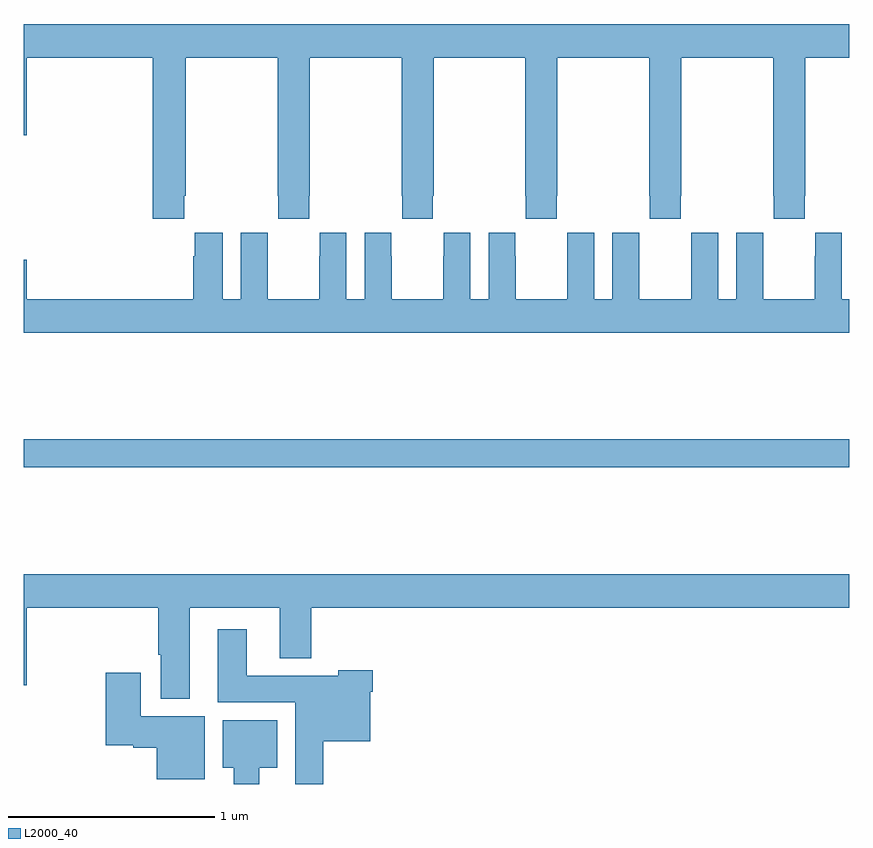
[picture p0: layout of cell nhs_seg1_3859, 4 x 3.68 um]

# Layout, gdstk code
import gdstk
lib = gdstk.Library(unit=1e-6, precision=1e-09)
def R(c, l, rs):  # rectangles x0, y0, x1, y1
    for r in rs: c.add(gdstk.rectangle(r[:2], r[2:], *l))
def P(c, l, *ps):  # polygons
    for p in ps: c.add(gdstk.Polygon(p, *l))
L2000_40 = (2000, 40)

nhs_seg1_3859 = lib.new_cell('nhs_seg1_3859')
R(nhs_seg1_3859, L2000_40, [(321,565.732,325,565.868)])
P(nhs_seg1_3859, L2000_40, [(321,567.342),(321.016,567.342),(321.016,567.716),(321.626,567.716),(321.626,566.937),(321.779,566.937),(321.779,567.049),(321.786,567.049),(321.786,567.716),(322.231,567.716),(322.231,567.049),(322.233,567.049),(322.233,566.937),(322.383,566.937),(322.383,567.049),(322.386,567.049),(322.386,567.716),(322.831,567.716),(322.831,567.049),(322.833,567.049),(322.833,566.937),(322.983,566.937),(322.983,567.049),(322.986,567.049),(322.986,567.716),(323.431,567.716),(323.431,567.049),(323.433,567.049),(323.433,566.937),(323.583,566.937),(323.583,567.049),(323.586,567.049),(323.586,567.716),(324.031,567.716),(324.031,567.049),(324.033,567.049),(324.033,566.937),(324.183,566.937),(324.183,567.049),(324.186,567.049),(324.186,567.716),(324.631,567.716),(324.631,567.049),(324.633,567.049),(324.633,566.937),(324.783,566.937),(324.783,567.049),(324.786,567.049),(324.786,567.716),(325,567.716),(325,567.88),(321,567.88)],
  [(325,566.548),(324.964,566.548),(324.964,566.869),(324.834,566.869),(324.834,566.756),(324.833,566.756),(324.833,566.548),(324.583,566.548),(324.583,566.756),(324.582,566.756),(324.582,566.869),(324.452,566.869),(324.452,566.548),(324.364,566.548),(324.364,566.869),(324.234,566.869),(324.234,566.756),(324.233,566.756),(324.233,566.548),(323.983,566.548),(323.983,566.756),(323.982,566.756),(323.982,566.869),(323.852,566.869),(323.852,566.548),(323.764,566.548),(323.764,566.869),(323.634,566.869),(323.634,566.756),(323.633,566.756),(323.633,566.548),(323.383,566.548),(323.383,566.756),(323.382,566.756),(323.382,566.869),(323.252,566.869),(323.252,566.548),(323.164,566.548),(323.164,566.869),(323.034,566.869),(323.034,566.756),(323.033,566.756),(323.033,566.548),(322.783,566.548),(322.783,566.756),(322.782,566.756),(322.782,566.869),(322.652,566.869),(322.652,566.548),(322.564,566.548),(322.564,566.869),(322.434,566.869),(322.434,566.756),(322.433,566.756),(322.433,566.548),(322.183,566.548),(322.183,566.756),(322.182,566.756),(322.182,566.869),(322.052,566.869),(322.052,566.548),(321.964,566.548),(321.964,566.869),(321.83,566.869),(321.83,566.756),(321.821,566.756),(321.821,566.548),(321.016,566.548),(321.016,566.737),(321,566.737),(321,566.384),(325,566.384)],
  [(321.805,565.052),(322.241,565.052),(322.241,564.809),(322.394,564.809),(322.394,565.052),(325,565.052),(325,565.216),(321,565.216),(321,564.678),(321.016,564.678),(321.016,565.052),(321.653,565.052),(321.653,564.826),(321.665,564.826),(321.665,564.611),(321.805,564.611)],
  [(322.451,564.407),(322.678,564.407),(322.678,564.647),(322.691,564.647),(322.691,564.751),(322.524,564.751),(322.524,564.724),(322.081,564.724),(322.081,564.949),(321.941,564.949),(321.941,564.596),(322.316,564.596),(322.316,564.199),(322.451,564.199)],
  [(321.877,564.526),(321.568,564.526),(321.568,564.739),(321.398,564.739),(321.398,564.386),(321.531,564.386),(321.531,564.374),(321.644,564.374),(321.644,564.221),(321.877,564.221)],
  [(322.141,564.278),(322.228,564.278),(322.228,564.508),(321.965,564.508),(321.965,564.278),(322.019,564.278),(322.019,564.199),(322.141,564.199)])

lib.write_gds('nhs_seg1_3859.gds')
